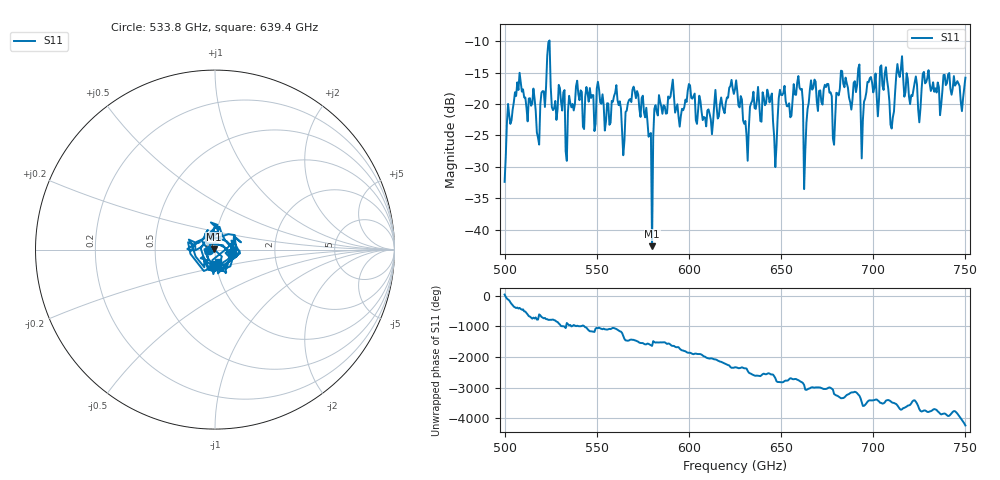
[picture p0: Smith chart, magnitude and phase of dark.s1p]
!Created with skrf (http://scikit-rf.org).
# GHz S RI R 50.0
!freq ReS11 ImS11
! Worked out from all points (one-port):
!   401 points, 500 GHz to 750 GHz, reference 50 ohm
!   lowest |S11| = -42.6 dB at 580 GHz (marker M1), VSWR 1.01, Z = 49.3 + j0.263 ohm
!   |S11| at or under -10 dB: start of sweep to 524.1 GHz; 524.4 GHz to end of sweep
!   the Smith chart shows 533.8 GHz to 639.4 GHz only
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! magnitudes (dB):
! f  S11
! 500 GHz  -32.4
! 507.5 GHz  -17.8
! 518.1 GHz  -25.4
! 523.8 GHz  -10.2
! 526.9 GHz  -20.7
! 531.2 GHz  -21.0
! 534.4 GHz  -21.2
! 540 GHz  -18.4
! 562.5 GHz  -19.6
! 571.2 GHz  -19.1
! 580 GHz  -42.6
! 582.5 GHz  -21.2
! 593.8 GHz  -20.1
! 625 GHz  -17.7
! 631.2 GHz  -25.0
! 636.2 GHz  -20.8
! 643.8 GHz  -19.8
! 646.9 GHz  -30.0
! 650.6 GHz  -18.6
! 656.2 GHz  -19.2
! 660 GHz  -17.4
! 663.8 GHz  -23.0
! 667.5 GHz  -17.4
! 678.1 GHz  -25.5
! 683.8 GHz  -16.8
! 687.5 GHz  -19.7
! 718.8 GHz  -16.0
! 750 GHz  -15.8
